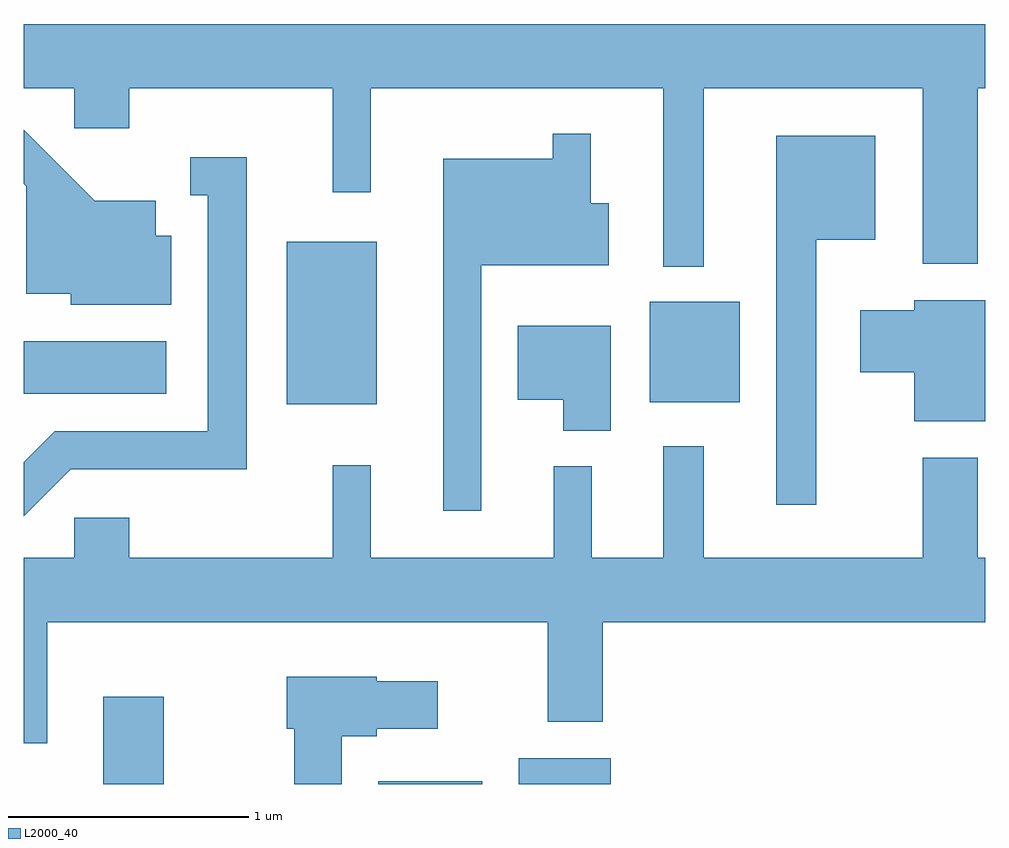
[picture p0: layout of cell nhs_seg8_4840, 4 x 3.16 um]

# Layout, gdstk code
import gdstk
lib = gdstk.Library(unit=1e-6, precision=1e-09)
def R(c, l, rs):  # rectangles x0, y0, x1, y1
    for r in rs: c.add(gdstk.rectangle(r[:2], r[2:], *l))
def P(c, l, *ps):  # polygons
    for p in ps: c.add(gdstk.Polygon(p, *l))
L2000_40 = (2000, 40)

nhs_seg8_4840 = lib.new_cell('nhs_seg8_4840')
R(nhs_seg8_4840, L2000_40, [(329.941,1902.342,330.194,1902.704), (331.086,1902.342,331.519,1902.354), (331.671,1902.342,332.054,1902.449), (330.706,1903.921,331.079,1904.599), (332.216,1903.931,332.589,1904.349), (329.611,1903.966,330.204,1904.184)])
P(nhs_seg8_4840, L2000_40, [(332.439,1905.236),(333.351,1905.236),(333.351,1904.506),(333.579,1904.506),(333.579,1905.236),(333.611,1905.236),(333.611,1905.504),(329.611,1905.504),(329.611,1905.236),(329.821,1905.236),(329.821,1905.071),(330.049,1905.071),(330.049,1905.236),(330.896,1905.236),(330.896,1904.803),(331.054,1904.803),(331.054,1905.236),(332.271,1905.236),(332.271,1904.493),(332.439,1904.493)],
  [(330.224,1904.624),(330.159,1904.624),(330.159,1904.769),(329.907,1904.769),(329.611,1905.065),(329.611,1904.839),(329.621,1904.829),(329.621,1904.381),(329.806,1904.381),(329.806,1904.336),(330.224,1904.336)],
  [(331.514,1904.501),(332.044,1904.501),(332.044,1904.759),(331.969,1904.759),(331.969,1905.048),(331.811,1905.048),(331.811,1904.944),(331.356,1904.944),(331.356,1903.478),(331.514,1903.478)],
  [(332.909,1904.606),(333.154,1904.606),(333.154,1905.039),(332.741,1905.039),(332.741,1903.503),(332.909,1903.503)],
  [(329.807,1903.651),(330.539,1903.651),(330.539,1904.949),(330.303,1904.949),(330.303,1904.791),(330.376,1904.791),(330.376,1903.809),(329.739,1903.809),(329.611,1903.681),(329.611,1903.455)],
  [(333.611,1904.354),(333.316,1904.354),(333.316,1904.314),(333.091,1904.314),(333.091,1904.056),(333.316,1904.056),(333.316,1903.851),(333.611,1903.851)],
  [(332.054,1904.249),(331.666,1904.249),(331.666,1903.941),(331.856,1903.941),(331.856,1903.811),(332.054,1903.811)],
  [(332.019,1903.016),(333.611,1903.016),(333.611,1903.284),(333.579,1903.284),(333.579,1903.699),(333.351,1903.699),(333.351,1903.284),(332.439,1903.284),(332.439,1903.748),(332.271,1903.748),(332.271,1903.284),(331.974,1903.284),(331.974,1903.663),(331.816,1903.663),(331.816,1903.284),(331.054,1903.284),(331.054,1903.668),(330.896,1903.668),(330.896,1903.284),(330.049,1903.284),(330.049,1903.449),(329.821,1903.449),(329.821,1903.284),(329.611,1903.284),(329.611,1902.511),(329.709,1902.511),(329.709,1903.016),(331.791,1903.016),(331.791,1902.601),(332.019,1902.601)],
  [(330.934,1902.541),(331.079,1902.541),(331.079,1902.571),(331.334,1902.571),(331.334,1902.769),(331.079,1902.769),(331.079,1902.789),(330.706,1902.789),(330.706,1902.571),(330.736,1902.571),(330.736,1902.342),(330.934,1902.342)])

lib.write_gds('nhs_seg8_4840.gds')
